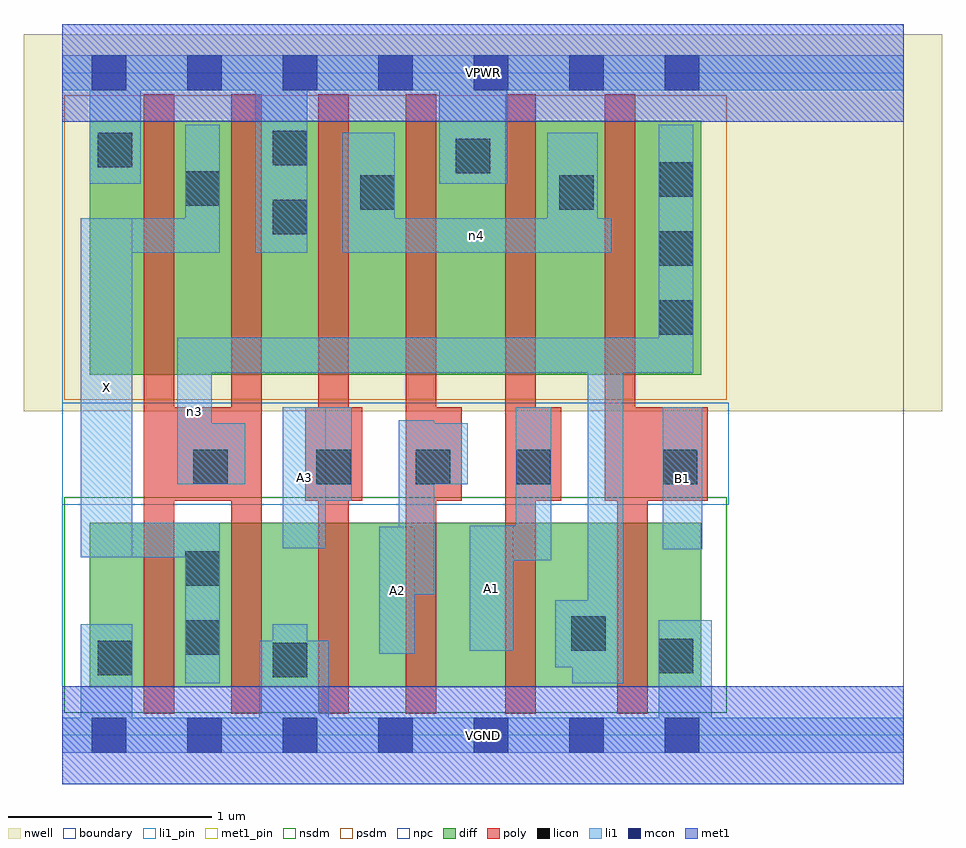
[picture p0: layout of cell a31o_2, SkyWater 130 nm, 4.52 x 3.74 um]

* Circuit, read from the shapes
.subckt a31o_2 A1 A2 A3 B1 VGND VPWR X n3 n4
XM1 X n3 VGND VSUBS sky130_fd_pr__nfet_01v8 w=0.81 l=0.15 m=2
XM2 n1 A3 VGND VSUBS sky130_fd_pr__nfet_01v8 w=0.81 l=0.15
XM3 n2 A2 n1 VSUBS sky130_fd_pr__nfet_01v8 w=0.81 l=0.15
XM4 n3 A1 n2 VSUBS sky130_fd_pr__nfet_01v8 w=0.81 l=0.15
XM5 VGND B1 n3 VSUBS sky130_fd_pr__nfet_01v8 w=0.81 l=0.15
XM6 X n3 VPWR n5 sky130_fd_pr__pfet_01v8 w=1.25 l=0.15 m=2
XM7 n4 A3 VPWR n5 sky130_fd_pr__pfet_01v8 w=1.25 l=0.15
XM8 VPWR A2 n4 n5 sky130_fd_pr__pfet_01v8 w=1.25 l=0.15
XM9 n4 A1 VPWR n5 sky130_fd_pr__pfet_01v8 w=1.25 l=0.15
XM10 n3 B1 n4 n5 sky130_fd_pr__pfet_01v8 w=1.25 l=0.15
.ends

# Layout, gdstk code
import gdstk
lib = gdstk.Library(unit=1e-6, precision=1e-09)
def R(c, l, rs):  # rectangles x0, y0, x1, y1
    for r in rs: c.add(gdstk.rectangle(r[:2], r[2:], *l))
def A(c, l, x, y, w, h, nx, ny, dx, dy):  # array of equal rectangles
    R(c, l, [(x+i*dx, y+j*dy, x+i*dx+w, y+j*dy+h) for i in range(nx) for j in range(ny)])
nwell = (64, 20)
diff = (65, 20)
poly = (66, 20)
licon = (66, 44)
li1_pin = (67, 16)
li1 = (67, 20)
mcon = (67, 44)
met1_pin = (68, 16)
met1 = (68, 20)
nsdm = (93, 44)
psdm = (94, 20)
npc = (95, 20)
boundary = (235, 4)

a31o_2 = lib.new_cell('a31o_2')
R(a31o_2, nwell, [(-0.19,1.595,4.33,3.45), (0,1.595,4.14,3.45)])
R(a31o_2, diff, [(0.135,0.235,3.145,1.045), (0.135,1.775,3.145,3.025)])
A(a31o_2, poly, 0.4, 0.105, 0.15, 3.05, 4, 1, 0.43, 0)
R(a31o_2, poly, [(2.18,0.105,2.33,3.155), (2.73,0.105,2.88,1.615), (0.4,1.155,0.98,1.615), (1.195,1.155,1.475,1.615), (1.69,1.155,1.965,1.615), (2.18,1.155,2.455,1.615), (2.67,1.155,2.82,3.155), (2.67,1.155,3.175,1.615)])
A(a31o_2, licon, 1.25, 1.235, 0.17, 0.17, 3, 1, 0.49, 0)
A(a31o_2, licon, 2.935, 1.97, 0.17, 0.17, 1, 3, 0, 0.34)
R(a31o_2, licon, [(1.035,0.285,1.205,0.455), (0.175,0.295,0.345,0.465), (2.935,0.305,3.105,0.475), (0.605,0.395,0.775,0.565), (2.505,0.415,2.675,0.585), (0.605,0.735,0.775,0.905), (0.645,1.235,0.815,1.405), (2.955,1.235,3.125,1.405), (1.035,2.465,1.205,2.635), (1.465,2.585,1.635,2.755), (2.445,2.585,2.615,2.755), (0.605,2.605,0.775,2.775), (1.935,2.765,2.105,2.935), (0.175,2.795,0.345,2.965), (1.035,2.805,1.205,2.975)])
R(a31o_2, li1_pin, [(1.56,0.4,1.735,1.025), (2.005,0.415,2.22,1.03), (0.09,0.875,0.345,2.545), (2.955,0.915,3.15,1.615), (1.085,0.92,1.295,1.615)])
R(a31o_2, li1, [(0,-0.085,4.14,0.085), (0.09,-0.085,0.345,0.545), (0.97,-0.085,1.31,0.465), (1.035,-0.085,1.205,0.545), (2.935,-0.085,3.195,0.565), (0.605,0.255,0.775,1.045), (2.51,0.255,2.76,0.665), (2.585,0.255,2.76,1.955), (2.425,0.335,2.76,0.665), (1.56,0.4,1.735,1.025), (2.005,0.415,2.22,1.03), (1.655,0.695,1.83,1.55), (2.005,0.86,2.405,1.03), (2.23,0.86,2.405,1.615), (0.09,0.875,0.345,2.545), (0.09,0.875,0.775,1.045), (2.955,0.915,3.15,1.615), (1.085,0.92,1.295,1.615), (1.085,1.155,1.425,1.615), (0.565,1.235,0.735,1.955), (0.565,1.235,0.9,1.535), (1.655,1.235,1.995,1.535), (0.565,1.785,3.105,1.955), (2.935,1.785,3.105,3.005), (0.09,2.375,0.775,2.545), (0.605,2.375,0.775,3.005), (0.95,2.375,1.205,3.345), (1.38,2.375,2.7,2.545), (1.38,2.375,1.635,2.965), (2.385,2.375,2.635,2.965), (0.135,2.715,0.385,3.345), (1.855,2.715,2.19,3.345), (0,3.175,4.14,3.345)])
A(a31o_2, mcon, 0.145, -0.085, 0.17, 0.17, 7, 2, 0.47, 3.26)
R(a31o_2, met1_pin, [(0,-0.24,4.14,0.24), (0,3.02,4.14,3.5)])
R(a31o_2, met1, [(0,-0.24,4.14,0.24), (0,3.02,4.14,3.5)])
R(a31o_2, nsdm, [(0.01,0.11,3.27,1.17)])
R(a31o_2, psdm, [(0.01,1.65,3.27,3.15)])
R(a31o_2, npc, [(0,1.135,3.28,1.635)])
R(a31o_2, boundary, [(0,0,4.14,3.26)])
a31o_2.add(gdstk.Label('A1', (2.112,0.722), layer=67, texttype=5))
a31o_2.add(gdstk.Label('A2', (1.647,0.712), layer=67, texttype=5))
a31o_2.add(gdstk.Label('A3', (1.19,1.267), layer=67, texttype=5))
a31o_2.add(gdstk.Label('B1', (3.052,1.265), layer=67, texttype=5))
a31o_2.add(gdstk.Label('X', (0.217,1.71), layer=67, texttype=5))
a31o_2.add(gdstk.Label('n4', (2.04,2.46), layer=67, texttype=5))
a31o_2.add(gdstk.Label('n3', (0.65,1.595), layer=67, texttype=5))
a31o_2.add(gdstk.Label('VPWR', (2.07,3.26), layer=68, texttype=5))
a31o_2.add(gdstk.Label('VGND', (2.07,0), layer=68, texttype=5))
a31o_2.add(gdstk.Label('A1', (2.112,0.722), layer=67, texttype=16))
a31o_2.add(gdstk.Label('A2', (1.647,0.712), layer=67, texttype=16))
a31o_2.add(gdstk.Label('A3', (1.19,1.267), layer=67, texttype=16))
a31o_2.add(gdstk.Label('B1', (3.052,1.265), layer=67, texttype=16))
a31o_2.add(gdstk.Label('X', (0.217,1.71), layer=67, texttype=16))
a31o_2.add(gdstk.Label('VPWR', (2.07,3.26), layer=68, texttype=16))
a31o_2.add(gdstk.Label('VGND', (2.07,0), layer=68, texttype=16))

lib.write_gds('a31o_2.gds')
